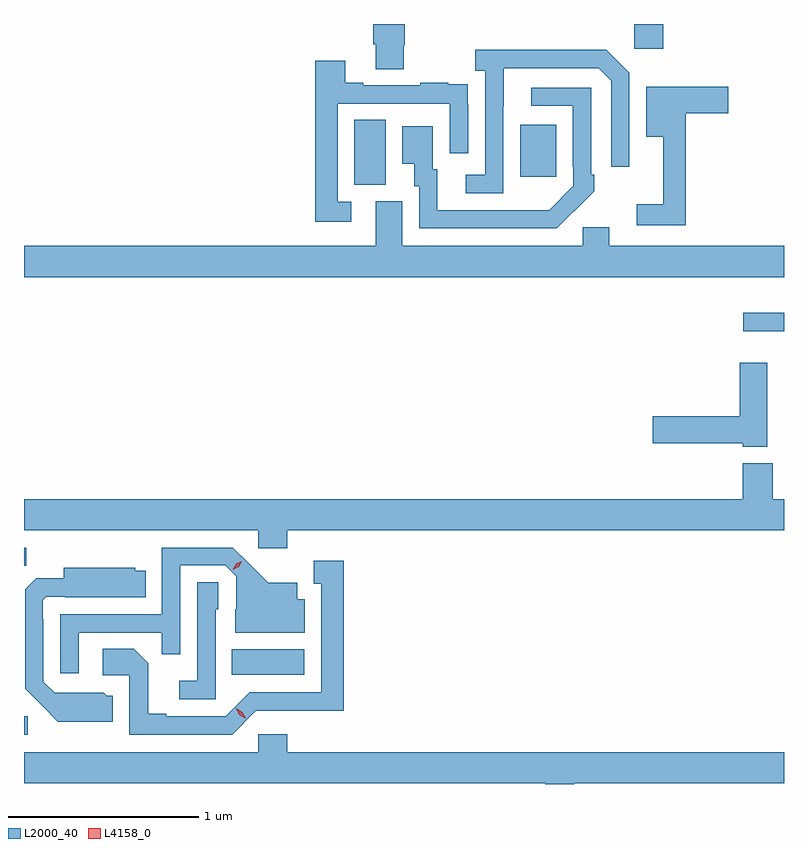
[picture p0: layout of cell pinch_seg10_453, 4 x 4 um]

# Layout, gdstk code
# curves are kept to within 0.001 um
import gdstk
lib = gdstk.Library(unit=1e-6, precision=1e-09)
def R(c, l, rs):  # rectangles x0, y0, x1, y1
    for r in rs: c.add(gdstk.rectangle(r[:2], r[2:], *l))
def P(c, l, *ps):  # polygons
    for p in ps: c.add(gdstk.Polygon(p, *l))
L2000_40 = (2000, 40)
L4158_0 = (4158, 0)

pinch_seg10_453 = lib.new_cell('pinch_seg10_453')
R(pinch_seg10_453, L2000_40, [(313.431,1307.232,313.45,1307.328), (314.524,1307.546,314.905,1307.68), (313.431,1308.121,313.443,1308.216), (317.217,1309.356,317.431,1309.452), (315.17,1310.125,315.334,1310.468), (316.043,1310.169,316.231,1310.443), (316.644,1310.841,316.796,1310.972)])
P(pinch_seg10_453, L2000_40, [(315.429,1310.859),(315.434,1310.859),(315.434,1310.972),(315.269,1310.972),(315.269,1310.866),(315.281,1310.866),(315.281,1310.734),(315.429,1310.734)],
  [(315.954,1310.539),(315.955,1310.739),(316.455,1310.739),(316.521,1310.673),(316.521,1310.22),(316.617,1310.22),(316.617,1310.715),(316.496,1310.836),(315.807,1310.836),(315.807,1310.726),(315.858,1310.726),(315.858,1310.178),(315.756,1310.178),(315.756,1310.082),(315.954,1310.082)],
  [(315.154,1310.037),(315.081,1310.037),(315.081,1310.553),(315.672,1310.553),(315.672,1310.292),(315.768,1310.292),(315.768,1310.546),(315.767,1310.546),(315.767,1310.655),(315.665,1310.655),(315.665,1310.662),(315.517,1310.662),(315.517,1310.649),(315.217,1310.649),(315.217,1310.662),(315.121,1310.662),(315.121,1310.779),(314.965,1310.779),(314.965,1309.932),(315.154,1309.932)],
  [(316.913,1310.501),(317.137,1310.501),(317.137,1310.643),(316.706,1310.643),(316.706,1310.378),(316.796,1310.378),(316.796,1310.023),(316.656,1310.023),(316.656,1309.914),(316.913,1309.914)],
  [(316.325,1309.987),(316.326,1309.986),(316.431,1310.091),(316.431,1310.179),(316.416,1310.179),(316.416,1310.637),(316.101,1310.637),(316.101,1310.541),(316.32,1310.541),(316.32,1310.221),(316.323,1310.221),(316.323,1310.121),(316.195,1309.993),(315.607,1309.992),(315.607,1310.208),(315.583,1310.208),(315.583,1310.434),(315.422,1310.434),(315.422,1310.237),(315.485,1310.237),(315.485,1310.118),(315.51,1310.118),(315.51,1309.896),(316.234,1309.896)],
  [(317.431,1309.804),(316.51,1309.804),(316.51,1309.902),(316.371,1309.902),(316.371,1309.804),(315.421,1309.804),(315.421,1310.04),(315.281,1310.04),(315.281,1309.804),(313.431,1309.804),(313.431,1309.64),(317.431,1309.64)],
  [(317.344,1309.189),(317.198,1309.189),(317.198,1308.908),(316.74,1308.908),(316.74,1308.766),(317.214,1308.766),(317.214,1308.746),(317.344,1308.746)],
  [(314.816,1308.308),(317.431,1308.308),(317.431,1308.472),(317.373,1308.472),(317.373,1308.661),(317.213,1308.661),(317.213,1308.472),(313.431,1308.472),(313.431,1308.308),(314.664,1308.308),(314.664,1308.213),(314.816,1308.213)],
  [(313.719,1307.769),(314.155,1307.769),(314.155,1307.656),(314.253,1307.656),(314.253,1308.123),(314.49,1308.123),(314.547,1308.066),(314.547,1307.892),(314.543,1307.892),(314.543,1307.768),(314.908,1307.768),(314.908,1307.944),(314.869,1307.944),(314.869,1308.031),(314.717,1308.031),(314.53,1308.216),(314.157,1308.216),(314.157,1307.865),(313.623,1307.865),(313.623,1307.556),(313.719,1307.556)],
  [(314.652,1307.358),(315.115,1307.357),(315.115,1308.148),(314.957,1308.148),(314.957,1308.027),(314.996,1308.027),(314.996,1307.454),(314.619,1307.454),(314.493,1307.328),(314.179,1307.328),(314.179,1307.341),(314.085,1307.341),(314.085,1307.608),(314.009,1307.684),(313.845,1307.684),(313.845,1307.544),(313.986,1307.544),(313.986,1307.232),(314.526,1307.232)],
  [(313.897,1307.436),(313.866,1307.436),(313.85,1307.452),(313.593,1307.451),(313.533,1307.511),(313.533,1307.84),(313.53,1307.84),(313.53,1307.94),(313.548,1307.958),(313.648,1307.958),(313.648,1307.954),(314.072,1307.954),(314.072,1308.094),(314.016,1308.094),(314.016,1308.109),(313.64,1308.109),(313.64,1308.055),(313.496,1308.055),(313.437,1307.996),(313.437,1307.474),(313.609,1307.3),(313.897,1307.3)],
  [(314.439,1307.892),(314.454,1307.892),(314.454,1308.035),(314.343,1308.035),(314.343,1307.515),(314.247,1307.515),(314.247,1307.418),(314.439,1307.418)],
  [(316.327,1306.976),(317.431,1306.976),(317.431,1307.14),(314.816,1307.14),(314.816,1307.233),(314.664,1307.233),(314.664,1307.14),(313.431,1307.14),(313.431,1306.976),(316.175,1306.976),(316.175,1306.972),(316.327,1306.972)])
P(pinch_seg10_453, L4158_0, [(314.596,1307.317),(314.565,1307.337),(314.548,1307.37),(314.548,1307.37),(314.549,1307.37),(314.58,1307.35),(314.597,1307.317),(314.597,1307.317)],
  [(314.53,1308.1),(314.53,1308.1),(314.547,1308.13),(314.577,1308.145),(314.577,1308.145),(314.577,1308.145),(314.56,1308.115),(314.53,1308.1)])

lib.write_gds('pinch_seg10_453.gds')
